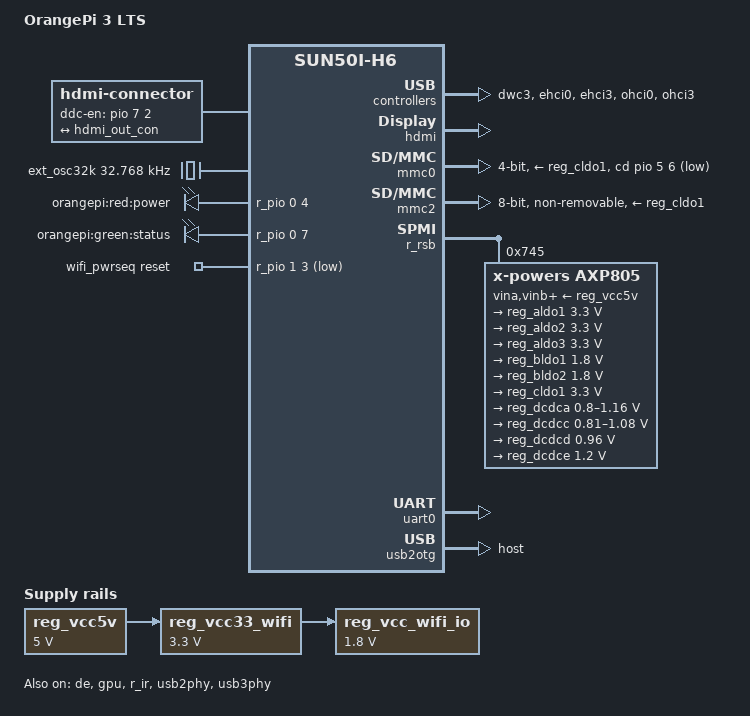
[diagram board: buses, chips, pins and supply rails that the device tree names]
// SPDX-License-Identifier: (GPL-2.0+ OR MIT)
// Copyright (C) 2019 Ondřej Jirman <megous@megous.com>
// Copyright (C) 2023 Jernej Skrabec <jernej.skrabec@gmail.com>

/dts-v1/;

#include "allwinner/sun50i-h6.dtsi"
#include "allwinner/sun50i-h6-cpu-opp.dtsi"

#include <dt-bindings/gpio/gpio.h>

/ {
	model = "OrangePi 3 LTS";
	compatible = "xunlong,orangepi-3-lts", "allwinner,sun50i-h6";

	aliases {
		serial0 = &uart0;
		serial1 = &uart1;
	};

	chosen {
		stdout-path = "serial0:115200n8";
	};

	connector {
		compatible = "hdmi-connector";
		ddc-en-gpios = <&pio 7 2 GPIO_ACTIVE_HIGH>; /* PH2 */
		type = "a";

		port {
			hdmi_con_in: endpoint {
				remote-endpoint = <&hdmi_out_con>;
			};
		};
	};

	ext_osc32k: ext_osc32k_clk {
		#clock-cells = <0>;
		compatible = "fixed-clock";
		clock-frequency = <32768>;
		clock-output-names = "ext_osc32k";
	};

	leds {
		compatible = "gpio-leds";

		led-0 {
			label = "orangepi:red:power";
			gpios = <&r_pio 0 4 GPIO_ACTIVE_HIGH>; /* PL4 */
			default-state = "on";
		};

		led-1 {
			label = "orangepi:green:status";
			gpios = <&r_pio 0 7 GPIO_ACTIVE_HIGH>; /* PL7 */
		};
	};

	reg_vcc5v: vcc5v {
		/* board wide 5V supply directly from the DC jack */
		compatible = "regulator-fixed";
		regulator-name = "vcc-5v";
		regulator-min-microvolt = <5000000>;
		regulator-max-microvolt = <5000000>;
		regulator-always-on;
	};

	reg_vcc33_wifi: vcc33-wifi {
		/* Always on 3.3V regulator for WiFi and BT */
		compatible = "regulator-fixed";
		regulator-name = "vcc33-wifi";
		regulator-min-microvolt = <3300000>;
		regulator-max-microvolt = <3300000>;
		regulator-always-on;
		vin-supply = <&reg_vcc5v>;
	};

	reg_vcc_wifi_io: vcc-wifi-io {
		/* Always on 1.8V/300mA regulator for WiFi and BT IO */
		compatible = "regulator-fixed";
		regulator-name = "vcc-wifi-io";
		regulator-min-microvolt = <1800000>;
		regulator-max-microvolt = <1800000>;
		regulator-always-on;
		vin-supply = <&reg_vcc33_wifi>;
	};

	wifi_pwrseq: wifi-pwrseq {
		compatible = "mmc-pwrseq-simple";
		clocks = <&rtc CLK_OSC32K_FANOUT>;
		clock-names = "ext_clock";
		reset-gpios = <&r_pio 1 3 GPIO_ACTIVE_LOW>; /* PM3 */
		post-power-on-delay-ms = <200>;
	};
};

&cpu0 {
	cpu-supply = <&reg_dcdca>;
};

&de {
	status = "okay";
};

&dwc3 {
	status = "okay";
};

&ehci0 {
	status = "okay";
};

&ehci3 {
	status = "okay";
};

&gpu {
	mali-supply = <&reg_dcdcc>;
	status = "okay";
};

&hdmi {
	status = "okay";
};

&hdmi_out {
	hdmi_out_con: endpoint {
		remote-endpoint = <&hdmi_con_in>;
	};
};

&mmc0 {
	vmmc-supply = <&reg_cldo1>;
	cd-gpios = <&pio 5 6 GPIO_ACTIVE_LOW>; /* PF6 */
	bus-width = <4>;
	status = "okay";
};

&mmc1 {
	status = "disabled";
};

&mmc2 {
	vmmc-supply = <&reg_cldo1>;
	vqmmc-supply = <&reg_bldo2>;
	cap-mmc-hw-reset;
	non-removable;
	bus-width = <8>;
	status = "okay";
};

&ohci0 {
	status = "okay";
};

&ohci3 {
	status = "okay";
};

&pio {
	vcc-pc-supply = <&reg_bldo2>;
	vcc-pd-supply = <&reg_cldo1>;
	vcc-pg-supply = <&reg_vcc_wifi_io>;
};

&r_ir {
	status = "okay";
};

&r_rsb {
	clock-frequency = <100000>;
	status = "okay";

	axp805: pmic@745 {
		compatible = "x-powers,axp805", "x-powers,axp806";
		reg = <0x745>;
		interrupt-parent = <&r_intc>;
		interrupts = <GIC_SPI 96 IRQ_TYPE_LEVEL_LOW>;
		interrupt-controller;
		#interrupt-cells = <1>;
		x-powers,self-working-mode;
		vina-supply = <&reg_vcc5v>;
		vinb-supply = <&reg_vcc5v>;
		vinc-supply = <&reg_vcc5v>;
		vind-supply = <&reg_vcc5v>;
		vine-supply = <&reg_vcc5v>;
		aldoin-supply = <&reg_vcc5v>;
		bldoin-supply = <&reg_vcc5v>;
		cldoin-supply = <&reg_vcc5v>;

		regulators {
			reg_aldo1: aldo1 {
				regulator-always-on;
				regulator-min-microvolt = <3300000>;
				regulator-max-microvolt = <3300000>;
				regulator-name = "vcc-pl-led-ir";
			};

			reg_aldo2: aldo2 {
				regulator-min-microvolt = <3300000>;
				regulator-max-microvolt = <3300000>;
				regulator-name = "vcc33-audio-tv-ephy-mac";
			};

			/* ALDO3 is shorted to CLDO1 */
			reg_aldo3: aldo3 {
				regulator-always-on;
				regulator-min-microvolt = <3300000>;
				regulator-max-microvolt = <3300000>;
				regulator-name = "vcc33-io-pd-emmc-sd-usb-uart-1";
			};

			reg_bldo1: bldo1 {
				regulator-always-on;
				regulator-min-microvolt = <1800000>;
				regulator-max-microvolt = <1800000>;
				regulator-name = "vcc18-dram-bias-pll";
			};

			reg_bldo2: bldo2 {
				regulator-always-on;
				regulator-min-microvolt = <1800000>;
				regulator-max-microvolt = <1800000>;
				regulator-name = "vcc-efuse-pcie-hdmi-pc";
			};

			bldo3 {
				/* unused */
			};

			bldo4 {
				/* unused */
			};

			reg_cldo1: cldo1 {
				regulator-always-on;
				regulator-min-microvolt = <3300000>;
				regulator-max-microvolt = <3300000>;
				regulator-name = "vcc33-io-pd-emmc-sd-usb-uart-2";
			};

			cldo2 {
				/* unused */
			};

			cldo3 {
				/* unused */
			};

			reg_dcdca: dcdca {
				regulator-always-on;
				regulator-min-microvolt = <800000>;
				regulator-max-microvolt = <1160000>;
				regulator-ramp-delay = <2500>;
				regulator-name = "vdd-cpu";
			};

			reg_dcdcc: dcdcc {
				regulator-enable-ramp-delay = <32000>;
				regulator-min-microvolt = <810000>;
				regulator-max-microvolt = <1080000>;
				regulator-ramp-delay = <2500>;
				regulator-name = "vdd-gpu";
			};

			reg_dcdcd: dcdcd {
				regulator-always-on;
				regulator-min-microvolt = <960000>;
				regulator-max-microvolt = <960000>;
				regulator-name = "vdd-sys";
			};

			reg_dcdce: dcdce {
				regulator-always-on;
				regulator-min-microvolt = <1200000>;
				regulator-max-microvolt = <1200000>;
				regulator-name = "vcc-dram";
			};

			sw {
				/* unused */
			};
		};
	};
};

&rtc {
	clocks = <&ext_osc32k>;
};

&uart0 {
	pinctrl-names = "default";
	pinctrl-0 = <&uart0_ph_pins>;
	status = "okay";
};

&uart1 {
	status = "disabled";
};

&usb2otg {
	/*
	 * This board doesn't have a controllable VBUS even though it
	 * does have an ID pin. Using it as anything but a USB host is
	 * unsafe.
	 */
	dr_mode = "host";
	status = "okay";
};

&usb2phy {
	usb0_id_det-gpios = <&pio 2 15 GPIO_ACTIVE_HIGH>; /* PC15 */
	usb0_vbus-supply = <&reg_vcc5v>;
	usb3_vbus-supply = <&reg_vcc5v>;
	status = "okay";
};

&usb3phy {
	status = "okay";
};
